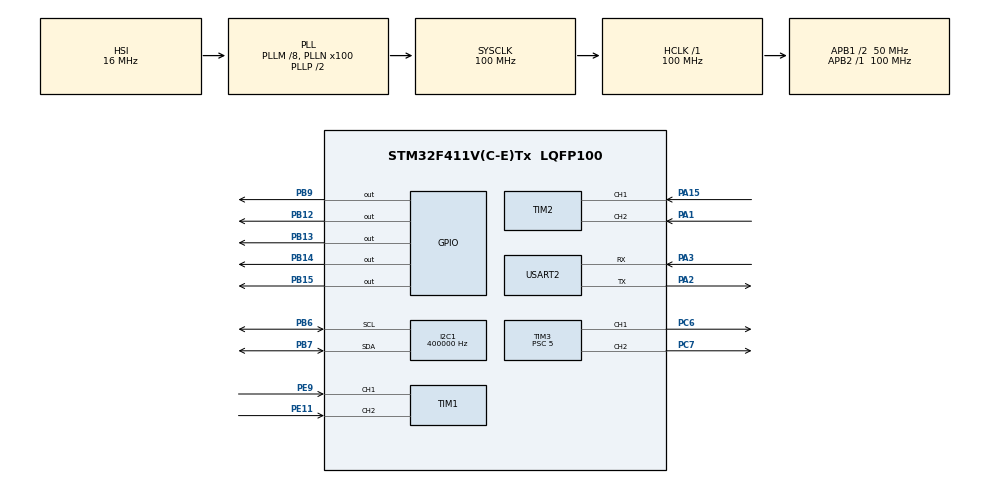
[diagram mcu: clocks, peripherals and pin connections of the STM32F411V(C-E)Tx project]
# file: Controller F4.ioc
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Dma.I2C1_RX.0.Direction=DMA_PERIPH_TO_MEMORY
Dma.I2C1_RX.0.FIFOMode=DMA_FIFOMODE_DISABLE
Dma.I2C1_RX.0.Instance=DMA1_Stream0
Dma.I2C1_RX.0.MemDataAlignment=DMA_MDATAALIGN_BYTE
Dma.I2C1_RX.0.MemInc=DMA_MINC_ENABLE
Dma.I2C1_RX.0.Mode=DMA_NORMAL
Dma.I2C1_RX.0.PeriphDataAlignment=DMA_PDATAALIGN_BYTE
Dma.I2C1_RX.0.PeriphInc=DMA_PINC_DISABLE
Dma.I2C1_RX.0.Priority=DMA_PRIORITY_HIGH
Dma.Request0=I2C1_RX
FREERTOS.BinarySemaphores01=I2CSemaphore,Dynamic,NULL,Available
FREERTOS.Mutexes01=DataMutex,Dynamic,NULL,Available
FREERTOS.Queues01=UartQueue,16,uint8_t,0,Dynamic,NULL,NULL
FREERTOS.Tasks01=CommandTask,0,256,StartCommandTask,Default,NULL,Dynamic,NULL,NULL;BalanceTask,-3,512,StartBalanceTask,Default,NULL,Dynamic,NULL,NULL;SpeedTask,1,256,StartSpeedTask,Default,NULL,Dynamic,NULL,NULL
I2C1.ClockSpeed=400000
I2C1.I2C_Mode=I2C_Fast
Mcu.Family=STM32F4
Mcu.Name=STM32F411V(C-E)Tx
Mcu.Package=LQFP100
NVIC.DMA1_Stream0_IRQn=true\:5\:0\:false\:false\:true\:true\:false\:true\:true
NVIC.I2C1_ER_IRQn=true\:5\:0\:false\:false\:true\:true\:true\:true\:true
NVIC.I2C1_EV_IRQn=true\:5\:0\:false\:false\:true\:true\:true\:true\:true
NVIC.PriorityGroup=NVIC_PRIORITYGROUP_4
NVIC.TIM5_IRQn=true\:15\:0\:false\:false\:true\:false\:false\:true\:true
NVIC.TimeBase=TIM5_IRQn
NVIC.TimeBaseIP=TIM5
NVIC.USART2_IRQn=true\:5\:0\:true\:false\:true\:true\:true\:true\:true
PA1.Signal=S_TIM2_CH2
PA13.Mode=Serial_Wire
PA13.Signal=SYS_JTMS-SWDIO
PA14.Mode=Serial_Wire
PA14.Signal=SYS_JTCK-SWCLK
PA15.Signal=S_TIM2_CH1_ETR
PA2.Mode=Asynchronous
PA2.Signal=USART2_TX
PA3.Mode=Asynchronous
PA3.Signal=USART2_RX
PB12.Signal=GPIO_Output
PB13.Signal=GPIO_Output
PB14.Signal=GPIO_Output
PB15.Signal=GPIO_Output
PB6.Mode=I2C
PB6.Signal=I2C1_SCL
PB7.Mode=I2C
PB7.Signal=I2C1_SDA
PB9.Signal=GPIO_Output
PC6.Signal=S_TIM3_CH1
PC7.Signal=S_TIM3_CH2
PE11.Signal=S_TIM1_CH2
PE9.Signal=S_TIM1_CH1
PH0\ -\ OSC_IN.Mode=HSE-External-Oscillator
PH0\ -\ OSC_IN.Signal=RCC_OSC_IN
PH1\ -\ OSC_OUT.Mode=HSE-External-Oscillator
PH1\ -\ OSC_OUT.Signal=RCC_OSC_OUT
ProjectManager.HeapSize=0x200
ProjectManager.StackSize=0x400
ProjectManager.TargetToolchain=STM32CubeIDE
RCC.48MHZClocksFreq_Value=50000000
RCC.AHBFreq_Value=100000000
RCC.APB1CLKDivider=RCC_HCLK_DIV2
RCC.APB1Freq_Value=50000000
RCC.APB1TimFreq_Value=100000000
RCC.APB2Freq_Value=100000000
RCC.APB2TimFreq_Value=100000000
RCC.CortexFreq_Value=100000000
RCC.HCLKFreq_Value=100000000
RCC.HSE_VALUE=25000000
RCC.HSI_VALUE=16000000
RCC.LSE_VALUE=32768
RCC.PLLM=8
RCC.PLLN=100
RCC.SYSCLKFreq_VALUE=100000000
RCC.SYSCLKSource=RCC_SYSCLKSOURCE_PLLCLK
RCC.VCOOutputFreq_Value=200000000
SH.S_TIM1_CH1.0=TIM1_CH1,Encoder_Interface
SH.S_TIM1_CH2.0=TIM1_CH2,Encoder_Interface
SH.S_TIM2_CH1_ETR.0=TIM2_CH1,Encoder_Interface
SH.S_TIM2_CH2.0=TIM2_CH2,Encoder_Interface
SH.S_TIM3_CH1.0=TIM3_CH1,PWM Generation1 CH1
SH.S_TIM3_CH2.0=TIM3_CH2,PWM Generation2 CH2
TIM1.EncoderMode=TIM_ENCODERMODE_TI12
TIM2.EncoderMode=TIM_ENCODERMODE_TI12
TIM3.Channel-PWM\ Generation1\ CH1=TIM_CHANNEL_1
TIM3.Channel-PWM\ Generation2\ CH2=TIM_CHANNEL_2
TIM3.Period=999
TIM3.Prescaler=5
USART2.VirtualMode=VM_ASYNC
VP_FREERTOS_VS_CMSIS_V1.Mode=CMSIS_V1
VP_SYS_VS_tim5.Mode=TIM5
VP_TIM3_VS_ClockSourceINT.Mode=Internal
board=custom

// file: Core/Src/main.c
/* USER CODE BEGIN Header */
/**
  ******************************************************************************
  * @file           : main.c
  * @brief          : Main program body
  ******************************************************************************
  * @attention
  *
  * Copyright (c) 2026 STMicroelectronics.
  * All rights reserved.
  *
  * This software is licensed under terms that can be found in the LICENSE file
  * in the root directory of this software component.
  * If no LICENSE file comes with this software, it is provided AS-IS.
  *
  ******************************************************************************
  */
/* USER CODE END Header */
#include "main.h"
#include "cmsis_os.h"
#include "dma.h"
#include "i2c.h"
#include "tim.h"
#include "usart.h"
#include "gpio.h"

/* USER CODE BEGIN Includes */
#include "app_shared.h"
#include "rtos_handles.h"
#include "mpu9250.h"
#include "motor.h"
/* USER CODE END Includes */

void SystemClock_Config(void);
void MX_FREERTOS_Init(void);

int main(void)
{

  /* MCU Configuration--------------------------------------------------------*/

  /* Reset of all peripherals, Initializes the Flash interface and the Systick. */
  HAL_Init();

  /* Configure the system clock */
  SystemClock_Config();

  /* Initialize all configured peripherals */
  MX_GPIO_Init();
  MX_DMA_Init();
  MX_I2C1_Init();
  MX_TIM2_Init();
  MX_TIM3_Init();
  MX_USART2_UART_Init();
  MX_TIM1_Init();
  /* USER CODE BEGIN 2 */
  HAL_TIM_PWM_Start(&htim3, TIM_CHANNEL_1);
  HAL_TIM_PWM_Start(&htim3, TIM_CHANNEL_2);
  HAL_TIM_Encoder_Start(&htim2, TIM_CHANNEL_ALL);
  HAL_TIM_Encoder_Start(&htim1, TIM_CHANNEL_ALL);
  __HAL_TIM_MOE_ENABLE(&htim1);
  HAL_GPIO_WritePin(GPIOB, GPIO_PIN_9, GPIO_PIN_SET);
  Motor_Set(0, 0);
  /* USER CODE END 2 */

  /* Call init function for freertos objects (in cmsis_os2.c) */
  MX_FREERTOS_Init();

  /* Start scheduler */
  osKernelStart();

  /* We should never get here as control is now taken by the scheduler */

  /* Infinite loop */
  while (1)
  {

  }
}

void SystemClock_Config(void)
{
  RCC_OscInitTypeDef RCC_OscInitStruct = {0};
  RCC_ClkInitTypeDef RCC_ClkInitStruct = {0};

  /** Configure the main internal regulator output voltage
  */
  __HAL_RCC_PWR_CLK_ENABLE();
  __HAL_PWR_VOLTAGESCALING_CONFIG(PWR_REGULATOR_VOLTAGE_SCALE1);

  /** Initializes the RCC Oscillators according to the specified parameters
  * in the RCC_OscInitTypeDef structure.
  */
  RCC_OscInitStruct.OscillatorType = RCC_OSCILLATORTYPE_HSI;
  RCC_OscInitStruct.HSIState = RCC_HSI_ON;
  RCC_OscInitStruct.HSICalibrationValue = RCC_HSICALIBRATION_DEFAULT;
  RCC_OscInitStruct.PLL.PLLState = RCC_PLL_ON;
  RCC_OscInitStruct.PLL.PLLSource = RCC_PLLSOURCE_HSI;
  RCC_OscInitStruct.PLL.PLLM = 8;
  RCC_OscInitStruct.PLL.PLLN = 100;
  RCC_OscInitStruct.PLL.PLLP = RCC_PLLP_DIV2;
  RCC_OscInitStruct.PLL.PLLQ = 4;
  if (HAL_RCC_OscConfig(&RCC_OscInitStruct) != HAL_OK)
  {
    Error_Handler();
  }

  /** Initializes the CPU, AHB and APB buses clocks
  */
  RCC_ClkInitStruct.ClockType = RCC_CLOCKTYPE_HCLK|RCC_CLOCKTYPE_SYSCLK
                              |RCC_CLOCKTYPE_PCLK1|RCC_CLOCKTYPE_PCLK2;
  RCC_ClkInitStruct.SYSCLKSource = RCC_SYSCLKSOURCE_PLLCLK;
  RCC_ClkInitStruct.AHBCLKDivider = RCC_SYSCLK_DIV1;
  RCC_ClkInitStruct.APB1CLKDivider = RCC_HCLK_DIV2;
  RCC_ClkInitStruct.APB2CLKDivider = RCC_HCLK_DIV1;

  if (HAL_RCC_ClockConfig(&RCC_ClkInitStruct, FLASH_LATENCY_3) != HAL_OK)
  {
    Error_Handler();
  }
}

/* USER CODE BEGIN 4 */
void HAL_I2C_MemRxCpltCallback(I2C_HandleTypeDef *hi2c)
{
    if (hi2c->Instance == I2C1)
    {
        osSemaphoreRelease(I2CSemaphoreHandle);
    }
}

void HAL_I2C_ErrorCallback(I2C_HandleTypeDef *hi2c)
{
}

void HAL_UART_RxCpltCallback(UART_HandleTypeDef *huart)
{
    if (huart->Instance == USART2)
    {
        osMessagePut(UartQueueHandle, (uint32_t)rx_byte, 0);
        HAL_UART_Receive_IT(&huart2, &rx_byte, 1);
    }
}

void HAL_UART_ErrorCallback(UART_HandleTypeDef *huart)
{
    if (huart->Instance == USART2)
    {
        __HAL_UART_CLEAR_OREFLAG(huart);
        HAL_UART_Receive_IT(&huart2, &rx_byte, 1);
    }
}
/* USER CODE END 4 */

void HAL_TIM_PeriodElapsedCallback(TIM_HandleTypeDef *htim)
{
  if (htim->Instance == TIM5)
  {
    HAL_IncTick();
  }
}

void Error_Handler(void)
{
  __disable_irq();
  while (1)
  {
  }
}

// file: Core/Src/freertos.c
/* USER CODE BEGIN Header */
/**
  ******************************************************************************
  * File Name          : freertos.c
  * Description        : Code for freertos applications
  ******************************************************************************
  * @attention
  *
  * Copyright (c) 2026 STMicroelectronics.
  * All rights reserved.
  *
  * This software is licensed under terms that can be found in the LICENSE file
  * in the root directory of this software component.
  * If no LICENSE file comes with this software, it is provided AS-IS.
  *
  ******************************************************************************
  */
/* USER CODE END Header */

#include "FreeRTOS.h"
#include "task.h"
#include "main.h"
#include "cmsis_os.h"

/* USER CODE BEGIN Includes */
#include "app_shared.h"
#include "usart.h"
#include "command_task.h"
#include "balance_task.h"
#include "speed_task.h"
/* USER CODE END Includes */

osThreadId CommandTaskHandle;
osThreadId BalanceTaskHandle;
osThreadId SpeedTaskHandle;

osMessageQId UartQueueHandle;

osMutexId DataMutexHandle;

osSemaphoreId I2CSemaphoreHandle;

void MX_FREERTOS_Init(void);

/* GetIdleTaskMemory prototype (linked to static allocation support) */
void vApplicationGetIdleTaskMemory(
    StaticTask_t **ppxIdleTaskTCBBuffer,
    StackType_t **ppxIdleTaskStackBuffer,
    uint32_t *pulIdleTaskStackSize
);

/* USER CODE BEGIN GET_IDLE_TASK_MEMORY */

static StaticTask_t xIdleTaskTCBBuffer;
static StackType_t xIdleStack[configMINIMAL_STACK_SIZE];

void vApplicationGetIdleTaskMemory(
    StaticTask_t **ppxIdleTaskTCBBuffer,
    StackType_t **ppxIdleTaskStackBuffer,
    uint32_t *pulIdleTaskStackSize
)
{
    *ppxIdleTaskTCBBuffer = &xIdleTaskTCBBuffer;
    *ppxIdleTaskStackBuffer = &xIdleStack[0];
    *pulIdleTaskStackSize = configMINIMAL_STACK_SIZE;
}

/* USER CODE END GET_IDLE_TASK_MEMORY */

void MX_FREERTOS_Init(void)
{

    /* Create the mutex(es) */
    osMutexDef(DataMutex);
    DataMutexHandle = osMutexCreate(osMutex(DataMutex));

    /* Create the semaphore(s) */
    osSemaphoreDef(I2CSemaphore);
    I2CSemaphoreHandle = osSemaphoreCreate(osSemaphore(I2CSemaphore), 1);

    osSemaphoreWait(I2CSemaphoreHandle, 0);

    /* Create the queue(s) */
    osMessageQDef(UartQueue, 16, uint8_t);
    UartQueueHandle = osMessageCreate(osMessageQ(UartQueue), NULL);

    /* Create the thread(s) */

    osThreadDef(CommandTask, StartCommandTask, 2, 0, 256);
    CommandTaskHandle = osThreadCreate(osThread(CommandTask), NULL);

    osThreadDef(BalanceTask, StartBalanceTask, 3, 0, 512);
    BalanceTaskHandle = osThreadCreate(osThread(BalanceTask), NULL);

    osThreadDef(SpeedTask, StartSpeedTask, 1, 0, 256);
    SpeedTaskHandle = osThreadCreate(osThread(SpeedTask), NULL);

    HAL_UART_Receive_IT(&huart2, &rx_byte, 1);
}
